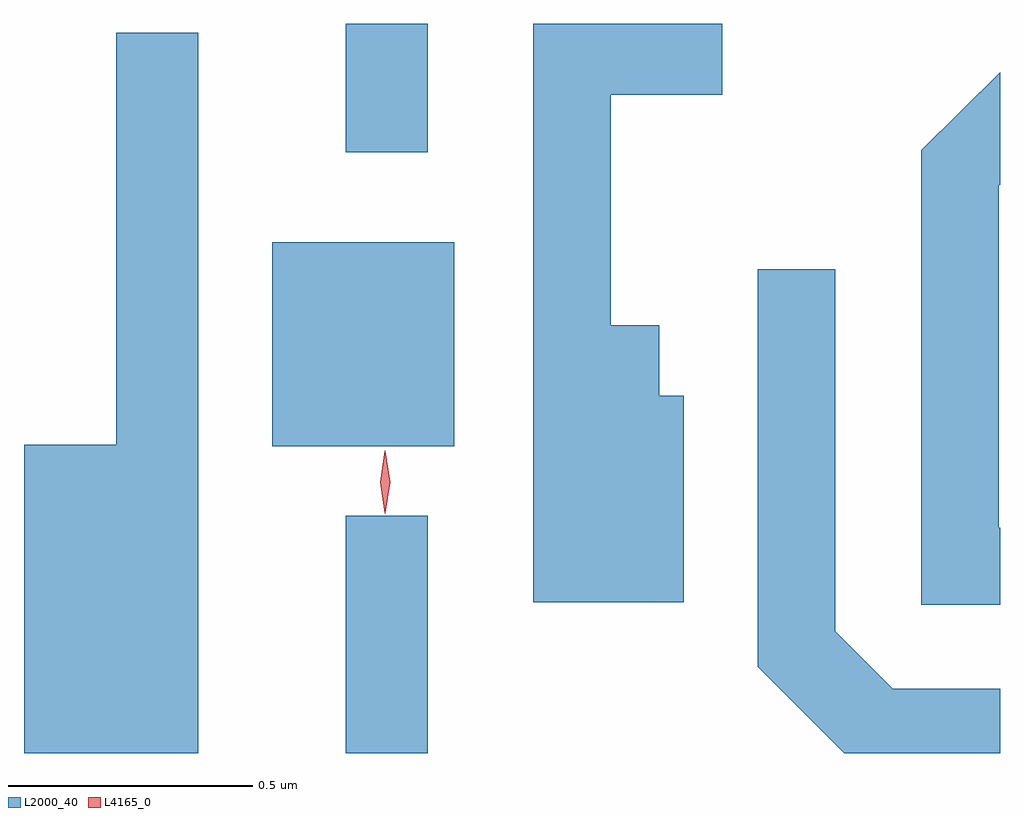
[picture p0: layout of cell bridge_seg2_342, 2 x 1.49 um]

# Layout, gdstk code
import gdstk
lib = gdstk.Library(unit=1e-6, precision=1e-09)
def R(c, l, rs):  # rectangles x0, y0, x1, y1
    for r in rs: c.add(gdstk.rectangle(r[:2], r[2:], *l))
def P(c, l, *ps):  # polygons
    for p in ps: c.add(gdstk.Polygon(p, *l))
L2000_40 = (2000, 40)
L4165_0 = (4165, 0)

bridge_seg2_342 = lib.new_cell('bridge_seg2_342')
R(bridge_seg2_342, L2000_40, [(401.011,977.802,401.179,978.288), (400.861,978.431,401.234,978.849), (401.011,979.033,401.179,979.296)])
P(bridge_seg2_342, L2000_40, [(401.704,978.534),(401.654,978.534),(401.654,978.679),(401.554,978.679),(401.554,979.151),(401.783,979.151),(401.783,979.296),(401.396,979.296),(401.396,978.111),(401.704,978.111)],
  [(400.709,979.278),(400.541,979.278),(400.541,978.434),(400.352,978.434),(400.352,977.802),(400.709,977.802)],
  [(402.352,978.264),(402.349,978.264),(402.349,978.964),(402.352,978.967),(402.352,979.197),(402.191,979.037),(402.191,978.106),(402.352,978.106)],
  [(402.352,977.934),(402.132,977.934),(402.014,978.052),(402.014,978.793),(401.856,978.793),(401.856,977.979),(402.033,977.802),(402.352,977.802)])
P(bridge_seg2_342, L4165_0, [(401.092,978.292),(401.091,978.293),(401.082,978.357),(401.091,978.421),(401.092,978.421),(401.092,978.421),(401.102,978.357),(401.092,978.293)])

lib.write_gds('bridge_seg2_342.gds')
